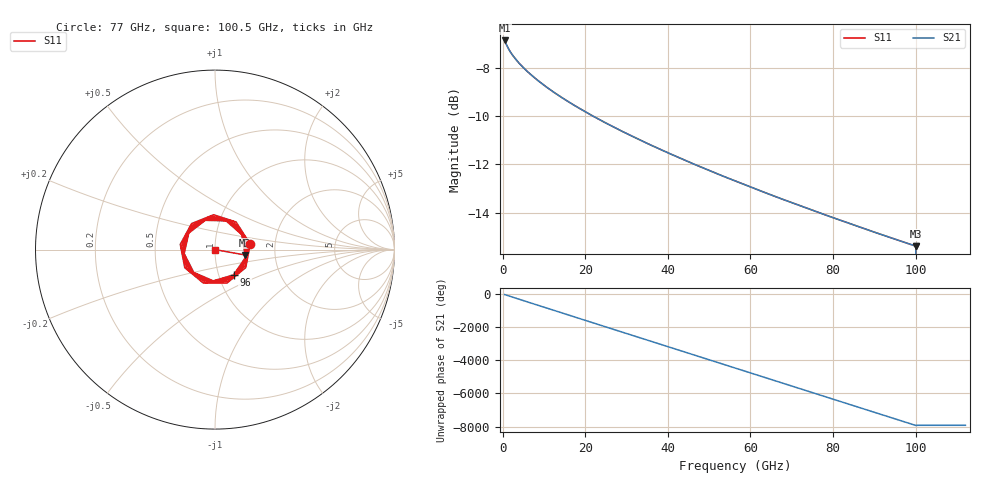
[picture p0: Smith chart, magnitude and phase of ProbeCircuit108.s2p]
! File created by SignalIntegrity v1.2.1: Signal and Power Integrity Tools
! https://github.com/TeledyneLeCroy/SignalIntegrity
# MHz S MA R 50.0
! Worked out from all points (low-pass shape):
!   224 points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, 500 MHz to 112 GHz, reference 50 ohm
!   highest |S21| = -6.88 dB at 500 MHz (marker M1); lowest = -15.4 dB at 100 GHz (marker M2)
!   |S21| within 3 dB of the highest: start of sweep to 20.6 GHz
!   lowest |S11| = -15.4 dB at 100 GHz (marker M3), VSWR 1.41, Z = 70 - j4.33 ohm
!   |S11| at or under -10 dB: 21.86 GHz to end of sweep
!   S12 and S22 are empty: the file has one direction only
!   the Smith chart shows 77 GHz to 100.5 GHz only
!   S11 on the Smith chart (normalised r, x): 77 GHz: 1.49, +0.10; 96 GHz: 1.18, -0.34; 100.5 GHz: 1.00, +0.00
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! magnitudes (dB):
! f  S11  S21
! 500 MHz  -6.9  -6.9
! 1 GHz  -7.1  -7.1
! 1.5 GHz  -7.2  -7.2
! 2.5 GHz  -7.5  -7.5
! 4 GHz  -7.8  -7.8
! 6.5 GHz  -8.2  -8.2
! 9 GHz  -8.6  -8.6
! 12.5 GHz  -9.0  -9.0
! 15 GHz  -9.3  -9.3
! 19.5 GHz  -9.8  -9.8
! 24 GHz  -10.2  -10.2
! 28.5 GHz  -10.6  -10.6
! 38 GHz  -11.4  -11.4
! 46.5 GHz  -12.0  -12.0
! 56.5 GHz  -12.7  -12.7
! 75 GHz  -13.9  -13.9
! 77 GHz  -14.0  -14.0
! 93.5 GHz  -15.0  -15.0
! 96 GHz  -15.1  -15.1
! 100 GHz  -15.4  -15.4
! 100.5 GHz  -  -
! 112 GHz  -  -
